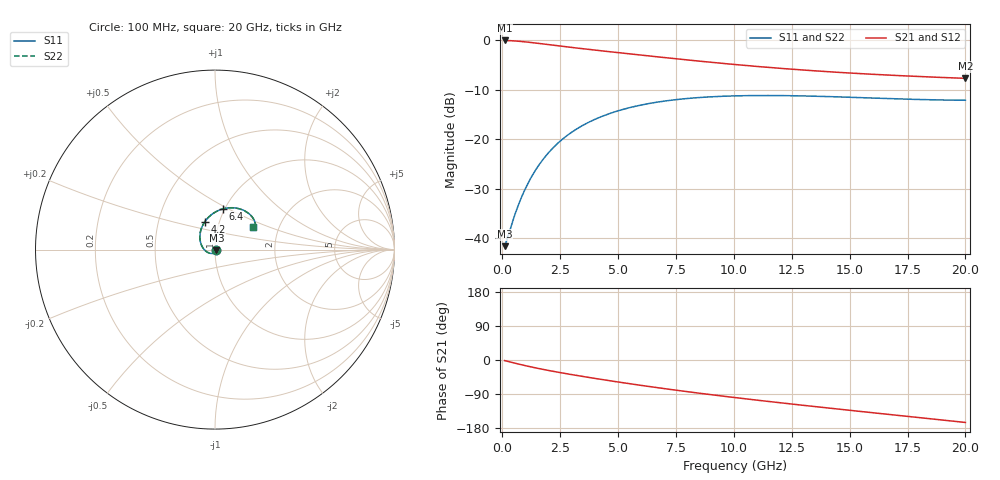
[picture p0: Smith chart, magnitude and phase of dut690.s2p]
! Touchstone file exported from HFSS 2024.1.0
!  File:  C:/UserFiles/LocalFiles/RDL_TSV_Batchsim/temp_RDL_TSV_690_1779818908.aedt
!  Generated:  02:22:34 AM May 27, 2026
!  Design:  RDL_TSV
!  Project:  temp_RDL_TSV_690_1779818908
!  Setup:  Setup1
!  Solution:  Sweep
! Variables:
!  dtsv = 13.04um
!  hbump = 3um
!  htsv = 62.13um
!  ldown = 228.71um
!  lrdl = 431.06um
!  p = 40
!  p1 = 53.06um
!  rhole = 10um
!  subl = 2410.37um
!  t = 450um
!  tdown = 3.86um
!  trdl = 4.93um
!  viad = 10um
!  wdown = 21.16um
!  wrdl = 29.85um
!  xbump = 18um
# GHz S MA R 50.000000
! Terminal data exported
! Port[1] = TM1_1_T1
! Port[2] = TM1_4_T1
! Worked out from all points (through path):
!   200 points, 100 MHz to 20 GHz, reference 50 ohm
!   highest |S21| = -0.07 dB at 100 MHz (marker M1); lowest = -7.7 dB at 20 GHz (marker M2)
!   group delay of S21, straight-line fit = 21.6 ps
!   lowest |S11| = -41.6 dB at 100 MHz (marker M3), VSWR 1.02, Z = 50.8 - j0.309 ohm
!   |S11| at or under -10 dB: start of sweep to end of sweep
!   |S22| runs from -41.6 to -11.2 dB; largest |S21 - S12| = 1.6e-14
!   S11 on the Smith chart (normalised r, x): 100 MHz: 1.02, -0.01; 4.2 GHz: 0.85, +0.27; 6.4 GHz: 0.98, +0.47; 20 GHz: 1.48, +0.39
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0.1  0.008338 -21.4  0.9915 -1.6  0.9915 -1.6  0.008338 -21.4
! Gamma 0 0 0 0
! Port Impedance 50 0 50 0
0.2  0.009662 -42.2  0.9898 -3.2  0.9898 -3.2  0.009662 -42.2
0.5  0.01618 -90.3  0.9816 -7.8  0.9816 -7.8  0.01618 -90.3
0.8  0.025 -122.2  0.9694 -12.2  0.9694 -12.2  0.025 -122.2
1.1  0.0355 -145.8  0.9539 -16.4  0.9539 -16.4  0.03549 -145.8
1.5  0.05145 -169.9  0.9304 -21.6  0.9304 -21.6  0.05143 -169.9
1.9  0.06879 171.3  0.9059 -26.5  0.9059 -26.5  0.06874 171.3
2.4  0.0912 152.7  0.8761 -32.2  0.8761 -32.2  0.09113 152.7
2.9  0.1134 137.9  0.8482 -37.5  0.8482 -37.5  0.1133 137.9
3.5  0.1389 123.5  0.8171 -43.7  0.8171 -43.7  0.1388 123.5
4.2  0.1662 109.8  0.7834 -50.5  0.7834 -50.5  0.166 109.7
5.2  0.1995 94.1  0.7387 -59.9  0.7387 -59.9  0.1993 94.1
6.4  0.2305 79.3  0.6893 -70.5  0.6893 -70.5  0.2303 79.3
6.8  0.2388 75.2  0.6738 -73.9  0.6738 -73.9  0.2385 75.1
8.4  0.2623 61.1  0.6168 -86.8  0.6168 -86.8  0.262 61.1
10.1  0.2739 49.9  0.5655 -99.6  0.5655 -99.6  0.2736 49.9
11.7  0.2759 42.0  0.5257 -110.8  0.5257 -110.8  0.2756 42.0
13.4  0.2719 36.0  0.4914 -122.3  0.4914 -122.3  0.2716 36.0
15  0.2651 32.2  0.4654 -132.7  0.4654 -132.7  0.2648 32.2
16.7  0.2569 30.1  0.4431 -143.7  0.4431 -143.7  0.2566 30.0
18.3  0.2506 29.5  0.4261 -153.9  0.4261 -153.9  0.2503 29.5
20  0.2472 30.2  0.4112 -164.8  0.4112 -164.8  0.2469 30.2
